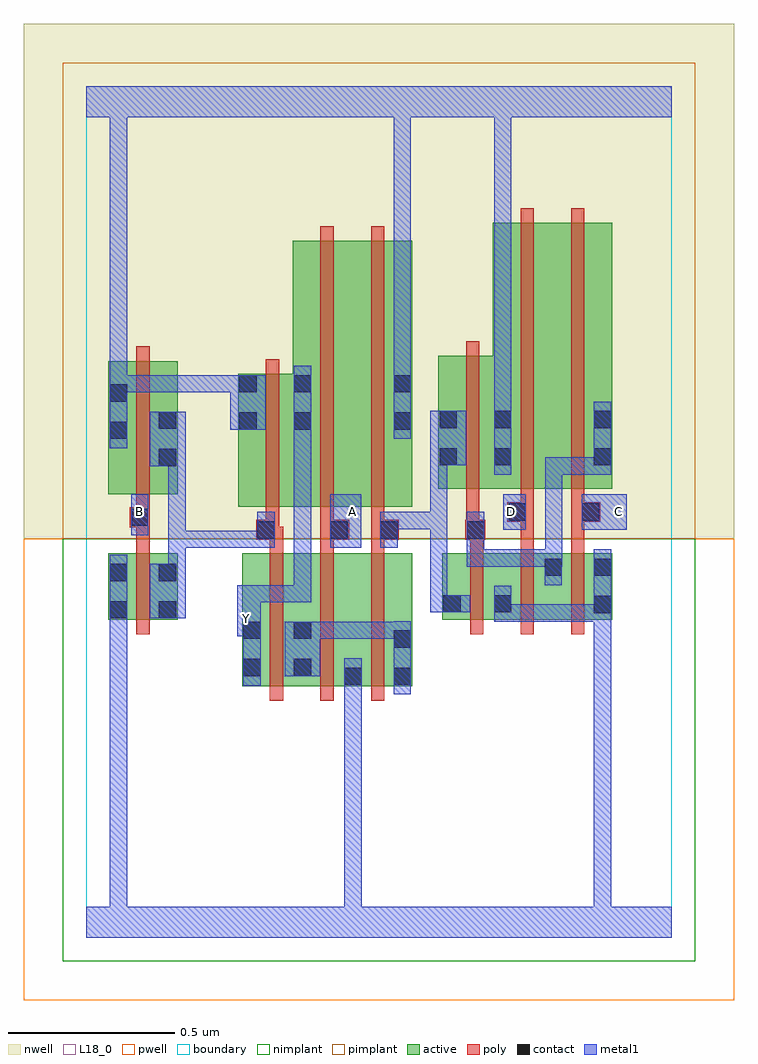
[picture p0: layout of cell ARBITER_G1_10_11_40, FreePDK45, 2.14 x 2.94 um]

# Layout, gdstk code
import gdstk
lib = gdstk.Library(unit=1e-6, precision=1e-09)
def R(c, l, rs):  # rectangles x0, y0, x1, y1
    for r in rs: c.add(gdstk.rectangle(r[:2], r[2:], *l))
def A(c, l, x, y, w, h, nx, ny, dx, dy):  # array of equal rectangles
    R(c, l, [(x+i*dx, y+j*dy, x+i*dx+w, y+j*dy+h) for i in range(nx) for j in range(ny)])
active = (1, 0)
pwell = (2, 0)
nwell = (3, 0)
nimplant = (4, 0)
pimplant = (5, 0)
poly = (9, 0)
contact = (10, 0)
metal1 = (11, 0)
L18_0 = (18, 0)
boundary = (235, 0)

arbiter_g1_10_11_40 = lib.new_cell('ARBITER_G1_10_11_40')
R(arbiter_g1_10_11_40, active, [(0.468,0.756,0.528,1.156), (0.468,0.756,0.68,1.156), (0.62,0.756,0.68,1.156), (0.62,0.756,0.832,1.156), (0.772,0.756,0.98,1.156), (0.772,0.756,0.832,0.828), (0.92,0.756,0.98,1.156), (0.066,0.956,0.126,1.156), (0.066,0.956,0.274,1.156), (0.214,0.956,0.274,1.156), (1.07,0.956,1.13,1.156), (1.07,0.956,1.282,1.156), (1.222,0.956,1.282,1.156), (1.222,0.956,1.434,1.156), (1.374,0.956,1.582,1.156), (1.374,0.956,1.434,1.144), (1.522,0.956,1.582,1.156), (0.456,1.296,0.516,1.696), (0.456,1.296,0.68,1.696), (0.62,1.296,0.8,2.096), (0.62,1.296,0.68,2.044), (0.8,1.296,0.98,2.096), (0.92,1.296,0.98,2.096), (0.066,1.334,0.126,1.734), (0.066,1.334,0.274,1.734), (0.214,1.334,0.274,1.644), (1.058,1.35,1.118,1.75), (1.058,1.35,1.282,1.75), (1.222,1.35,1.402,2.15), (1.222,1.35,1.282,2.15), (1.402,1.35,1.582,2.15), (1.522,1.35,1.582,2.044)])
R(arbiter_g1_10_11_40, pwell, [(-0.188,-0.188,1.948,1.2)])
R(arbiter_g1_10_11_40, nwell, [(-0.188,1.2,1.948,2.748)])
R(arbiter_g1_10_11_40, nimplant, [(-0.072,-0.072,1.832,1.2)])
R(arbiter_g1_10_11_40, pimplant, [(-0.072,1.2,1.832,2.632)])
A(arbiter_g1_10_11_40, poly, 0.552, 0.712, 0.04, 0.488, 3, 1, 0.152, 0)
A(arbiter_g1_10_11_40, poly, 1.154, 0.912, 0.04, 0.288, 3, 1, 0.152, 0)
A(arbiter_g1_10_11_40, poly, 0.552, 1.16, 0.04, 0.076, 3, 1, 0.152, 0)
R(arbiter_g1_10_11_40, poly, [(0.15,0.912,0.19,1.2), (0.15,1.16,0.19,1.274), (1.154,1.16,1.194,1.236), (1.306,1.16,1.346,1.29), (1.458,1.16,1.498,1.29), (0.51,1.196,0.58,1.256), (0.54,1.196,0.58,1.236), (0.54,1.196,0.592,1.236), (0.704,1.196,0.79,1.256), (0.856,1.196,0.896,1.236), (0.856,1.196,0.896,1.236), (0.856,1.196,0.94,1.256), (1.14,1.196,1.2,1.256), (0.54,1.216,0.58,1.292), (0.704,1.216,0.744,1.292), (0.704,1.216,0.744,1.256), (0.704,1.216,0.744,1.256), (0.856,1.216,0.896,1.292), (1.142,1.216,1.182,1.256), (1.142,1.216,1.182,1.256), (1.142,1.216,1.182,1.346), (0.13,1.234,0.19,1.294), (0.15,1.234,0.19,1.274), (0.15,1.234,0.19,1.274), (1.266,1.25,1.346,1.31), (1.306,1.25,1.346,1.29), (1.306,1.25,1.346,1.29), (1.458,1.25,1.546,1.31), (0.54,1.252,0.58,1.74), (0.704,1.252,0.744,2.14), (0.856,1.252,0.896,2.14), (0.15,1.254,0.19,1.33), (1.306,1.27,1.346,1.346), (1.458,1.27,1.498,1.346), (1.458,1.27,1.498,1.31), (1.458,1.27,1.498,1.31), (0.15,1.29,0.19,1.778), (1.142,1.306,1.182,1.794), (1.306,1.306,1.346,2.194), (1.458,1.306,1.498,2.194)])
R(arbiter_g1_10_11_40, contact, [(0.776,0.76,0.828,0.812), (0.924,0.76,0.976,0.812), (0.472,0.786,0.524,0.838), (0.624,0.786,0.676,0.838), (0.924,0.872,0.976,0.924), (0.472,0.898,0.524,0.95), (0.624,0.898,0.676,0.95), (0.07,0.96,0.122,1.012), (0.218,0.96,0.27,1.012), (1.526,0.976,1.578,1.028), (1.074,0.978,1.126,1.03), (1.226,0.978,1.278,1.03), (0.07,1.072,0.122,1.124), (0.218,1.072,0.27,1.124), (1.378,1.088,1.43,1.14), (1.526,1.088,1.578,1.14), (0.514,1.2,0.566,1.252), (0.734,1.2,0.786,1.252), (0.884,1.2,0.936,1.252), (1.144,1.2,1.196,1.252), (0.134,1.238,0.186,1.29), (1.27,1.254,1.322,1.306), (1.49,1.254,1.542,1.306), (0.218,1.418,0.27,1.47), (1.062,1.42,1.114,1.472), (1.226,1.42,1.278,1.472), (1.526,1.42,1.578,1.472), (0.07,1.5,0.122,1.552), (0.46,1.528,0.512,1.58), (0.624,1.528,0.676,1.58), (0.924,1.528,0.976,1.58), (0.218,1.53,0.27,1.582), (1.062,1.532,1.114,1.584), (1.226,1.532,1.278,1.584), (1.526,1.532,1.578,1.584), (0.07,1.612,0.122,1.664), (0.46,1.64,0.512,1.692), (0.624,1.64,0.676,1.692), (0.924,1.64,0.976,1.692)])
R(arbiter_g1_10_11_40, metal1, [(0,0,1.76,0.092), (0.07,0.04,0.122,0.092), (0.07,0.04,0.122,0.092), (0.07,0.04,0.122,0.092), (0.07,0.04,0.122,0.092), (0.07,0.04,0.122,0.092), (0.07,0.04,0.122,0.092), (0.07,0.04,0.122,0.092), (0.07,0.04,0.122,0.092), (0.07,0.04,0.122,0.092), (0.07,0.04,0.122,0.092), (0.07,0.04,0.122,0.092), (0.07,0.04,0.122,0.092), (0.07,0.04,0.122,0.092), (0.07,0.04,0.122,0.092), (0.07,0.04,0.122,0.092), (0.07,0.04,0.122,0.092), (0.07,0.04,0.122,0.984), (0.776,0.04,0.828,0.092), (0.776,0.04,0.828,0.092), (0.776,0.04,0.828,0.092), (0.776,0.04,0.828,0.092), (0.776,0.04,0.828,0.092), (0.776,0.04,0.828,0.092), (0.776,0.04,0.828,0.092), (0.776,0.04,0.828,0.092), (0.776,0.04,0.828,0.092), (0.776,0.04,0.828,0.092), (0.776,0.04,0.828,0.092), (0.776,0.04,0.828,0.092), (0.776,0.04,0.828,0.784), (1.526,0.04,1.578,0.092), (1.526,0.04,1.578,0.092), (1.526,0.04,1.578,0.092), (1.526,0.04,1.578,0.092), (1.526,0.04,1.578,0.092), (1.526,0.04,1.578,0.092), (1.526,0.04,1.578,0.092), (1.526,0.04,1.578,0.092), (1.526,0.04,1.578,0.092), (1.526,0.04,1.578,0.092), (1.526,0.04,1.578,0.092), (1.526,0.04,1.578,0.092), (1.526,0.04,1.578,0.092), (1.526,0.04,1.578,0.092), (1.526,0.04,1.578,1), (0.776,0.732,0.828,0.84), (0.924,0.732,0.976,0.952), (0.472,0.758,0.524,0.978), (0.596,0.786,0.704,0.95), (0.652,0.898,0.704,0.95), (0.652,0.898,0.704,0.95), (0.652,0.898,0.866,0.95), (0.814,0.898,0.866,0.95), (0.814,0.898,0.866,0.95), (0.814,0.898,0.866,0.95), (0.814,0.898,0.976,0.95), (0.454,0.906,0.524,1.06), (0.472,0.926,0.524,0.978), (0.07,0.932,0.122,1.152), (1.526,0.948,1.578,1), (1.526,0.948,1.578,1), (1.526,0.948,1.578,1.168), (1.226,0.95,1.278,1.058), (1.226,0.95,1.306,1.002), (1.254,0.95,1.306,1.002), (1.254,0.95,1.468,1.002), (1.416,0.95,1.468,1.002), (1.416,0.95,1.578,1.002), (1.526,0.95,1.578,1.002), (1.526,0.95,1.578,1.002), (0.19,0.96,0.298,1.124), (1.034,0.978,1.086,1.28), (1.034,0.978,1.154,1.03), (0.472,1.008,0.524,1.06), (0.472,1.008,0.524,1.06), (0.472,1.008,0.676,1.06), (0.624,1.008,0.676,1.06), (0.624,1.008,0.676,1.552), (1.378,1.06,1.43,1.168), (0.246,1.072,0.298,1.124), (0.246,1.072,0.298,1.124), (0.246,1.072,0.298,1.224), (1.144,1.116,1.196,1.224), (1.144,1.116,1.43,1.168), (1.378,1.116,1.43,1.168), (1.378,1.116,1.43,1.168), (1.378,1.116,1.43,1.168), (1.378,1.116,1.432,1.168), (1.38,1.116,1.432,1.444), (0.246,1.172,0.298,1.224), (0.246,1.172,0.298,1.224), (0.246,1.172,0.298,1.224), (0.246,1.172,0.566,1.224), (0.246,1.172,0.298,1.47), (0.514,1.172,0.566,1.28), (0.734,1.172,0.826,1.334), (0.884,1.172,0.936,1.28), (1.144,1.172,1.196,1.224), (1.144,1.172,1.196,1.28), (0.134,1.21,0.186,1.334), (1.254,1.226,1.322,1.334), (1.49,1.226,1.626,1.334), (0.884,1.228,1.086,1.28), (1.034,1.228,1.086,1.28), (1.034,1.228,1.086,1.28), (1.034,1.228,1.086,1.28), (1.034,1.228,1.086,1.28), (1.034,1.228,1.086,1.28), (1.034,1.228,1.086,1.472), (1.226,1.392,1.278,1.612), (1.38,1.392,1.432,1.444), (1.38,1.392,1.578,1.444), (1.526,1.392,1.578,1.444), (1.526,1.392,1.578,1.444), (1.526,1.392,1.578,1.444), (1.526,1.392,1.578,1.444), (1.526,1.392,1.578,1.612), (0.19,1.418,0.298,1.582), (1.034,1.42,1.142,1.584), (0.07,1.472,0.122,1.692), (0.624,1.5,0.676,1.552), (0.624,1.5,0.676,1.552), (0.624,1.5,0.676,1.72), (0.924,1.5,0.976,1.72), (0.432,1.528,0.54,1.692), (1.226,1.56,1.278,1.612), (1.226,1.56,1.278,1.612), (1.226,1.56,1.278,2.52), (0.07,1.64,0.122,1.692), (0.07,1.64,0.122,1.692), (0.07,1.64,0.122,1.692), (0.07,1.64,0.122,1.692), (0.07,1.64,0.122,1.692), (0.07,1.64,0.122,1.692), (0.07,1.64,0.122,1.692), (0.07,1.64,0.122,1.692), (0.07,1.64,0.122,1.692), (0.07,1.64,0.122,1.692), (0.07,1.64,0.122,1.692), (0.07,1.64,0.122,1.692), (0.07,1.64,0.122,1.692), (0.07,1.64,0.122,1.692), (0.07,1.64,0.232,1.692), (0.07,1.64,0.122,2.52), (0.18,1.64,0.232,1.692), (0.18,1.64,0.484,1.692), (0.924,1.668,0.976,1.72), (0.924,1.668,0.976,1.72), (0.924,1.668,0.976,1.72), (0.924,1.668,0.976,1.72), (0.924,1.668,0.976,2.52), (0,2.468,1.76,2.56), (0.07,2.468,0.122,2.52), (0.07,2.468,0.122,2.52), (0.07,2.468,0.122,2.52), (0.07,2.468,0.122,2.52), (0.924,2.468,0.976,2.52), (0.924,2.468,0.976,2.52), (0.924,2.468,0.976,2.52), (0.924,2.468,0.976,2.52), (1.226,2.468,1.278,2.52), (1.226,2.468,1.278,2.52), (1.226,2.468,1.278,2.52), (1.226,2.468,1.278,2.52), (1.226,2.468,1.278,2.52), (1.226,2.468,1.278,2.52)])
R(arbiter_g1_10_11_40, L18_0, [(0,0,1.76,0.092), (0.07,0.04,0.122,0.092), (0.07,0.04,0.122,0.092), (0.07,0.04,0.122,0.092), (0.07,0.04,0.122,0.092), (0.07,0.04,0.122,0.092), (0.07,0.04,0.122,0.092), (0.07,0.04,0.122,0.092), (0.07,0.04,0.122,0.092), (0.07,0.04,0.122,0.092), (0.07,0.04,0.122,0.092), (0.07,0.04,0.122,0.092), (0.07,0.04,0.122,0.092), (0.07,0.04,0.122,0.092), (0.07,0.04,0.122,0.092), (0.07,0.04,0.122,0.092), (0.07,0.04,0.122,0.092), (0.07,0.04,0.122,0.984), (0.776,0.04,0.828,0.092), (0.776,0.04,0.828,0.092), (0.776,0.04,0.828,0.092), (0.776,0.04,0.828,0.092), (0.776,0.04,0.828,0.092), (0.776,0.04,0.828,0.092), (0.776,0.04,0.828,0.092), (0.776,0.04,0.828,0.092), (0.776,0.04,0.828,0.092), (0.776,0.04,0.828,0.092), (0.776,0.04,0.828,0.092), (0.776,0.04,0.828,0.092), (0.776,0.04,0.828,0.784), (1.526,0.04,1.578,0.092), (1.526,0.04,1.578,0.092), (1.526,0.04,1.578,0.092), (1.526,0.04,1.578,0.092), (1.526,0.04,1.578,0.092), (1.526,0.04,1.578,0.092), (1.526,0.04,1.578,0.092), (1.526,0.04,1.578,0.092), (1.526,0.04,1.578,0.092), (1.526,0.04,1.578,0.092), (1.526,0.04,1.578,0.092), (1.526,0.04,1.578,0.092), (1.526,0.04,1.578,0.092), (1.526,0.04,1.578,0.092), (1.526,0.04,1.578,1), (0.776,0.732,0.828,0.84), (0.472,0.758,0.524,0.978), (0.454,0.906,0.524,1.06), (0.472,0.926,0.524,0.978), (0.07,0.932,0.122,1.152), (0.454,0.934,0.506,0.986), (1.526,0.948,1.578,1), (1.526,0.948,1.578,1), (1.526,0.948,1.578,1.168), (1.226,0.95,1.278,1.058), (1.226,0.95,1.306,1.002), (1.254,0.95,1.306,1.002), (1.254,0.95,1.468,1.002), (1.416,0.95,1.468,1.002), (1.416,0.95,1.578,1.002), (1.526,0.95,1.578,1.002), (1.526,0.95,1.578,1.002), (0.472,1.008,0.524,1.06), (0.472,1.008,0.524,1.06), (0.472,1.008,0.676,1.06), (0.624,1.008,0.676,1.06), (0.624,1.008,0.676,1.552), (0.734,1.172,0.826,1.334), (0.134,1.21,0.186,1.334), (1.254,1.226,1.322,1.334), (1.49,1.226,1.626,1.334), (0.134,1.254,0.186,1.306), (0.774,1.254,0.826,1.306), (1.254,1.254,1.306,1.306), (1.574,1.254,1.626,1.306), (1.226,1.392,1.278,1.612), (0.07,1.472,0.122,1.692), (0.624,1.5,0.676,1.552), (0.624,1.5,0.676,1.552), (0.624,1.5,0.676,1.72), (0.924,1.5,0.976,1.72), (0.432,1.528,0.54,1.692), (1.226,1.56,1.278,1.612), (1.226,1.56,1.278,1.612), (1.226,1.56,1.278,2.52), (0.07,1.64,0.122,1.692), (0.07,1.64,0.122,1.692), (0.07,1.64,0.122,1.692), (0.07,1.64,0.122,1.692), (0.07,1.64,0.122,1.692), (0.07,1.64,0.122,1.692), (0.07,1.64,0.122,1.692), (0.07,1.64,0.122,1.692), (0.07,1.64,0.122,1.692), (0.07,1.64,0.122,1.692), (0.07,1.64,0.122,1.692), (0.07,1.64,0.122,1.692), (0.07,1.64,0.122,1.692), (0.07,1.64,0.122,1.692), (0.07,1.64,0.122,2.52), (0.07,1.64,0.232,1.692), (0.18,1.64,0.232,1.692), (0.18,1.64,0.484,1.692), (0.924,1.668,0.976,1.72), (0.924,1.668,0.976,1.72), (0.924,1.668,0.976,1.72), (0.924,1.668,0.976,1.72), (0.924,1.668,0.976,2.52), (0,2.468,1.76,2.56), (0.07,2.468,0.122,2.52), (0.07,2.468,0.122,2.52), (0.07,2.468,0.122,2.52), (0.07,2.468,0.122,2.52), (0.924,2.468,0.976,2.52), (0.924,2.468,0.976,2.52), (0.924,2.468,0.976,2.52), (0.924,2.468,0.976,2.52), (1.226,2.468,1.278,2.52), (1.226,2.468,1.278,2.52), (1.226,2.468,1.278,2.52), (1.226,2.468,1.278,2.52), (1.226,2.468,1.278,2.52), (1.226,2.468,1.278,2.52)])
R(arbiter_g1_10_11_40, boundary, [(0,0,1.76,2.56)])
arbiter_g1_10_11_40.add(gdstk.Label('A', (0.8,1.28), layer=11, texttype=0))
arbiter_g1_10_11_40.add(gdstk.Label('B', (0.16,1.28), layer=11, texttype=0))
arbiter_g1_10_11_40.add(gdstk.Label('C', (1.6,1.28), layer=11, texttype=0))
arbiter_g1_10_11_40.add(gdstk.Label('D', (1.28,1.28), layer=11, texttype=0))
arbiter_g1_10_11_40.add(gdstk.Label('Y', (0.48,0.96), layer=11, texttype=0))

lib.write_gds('ARBITER_G1_10_11_40.gds')
